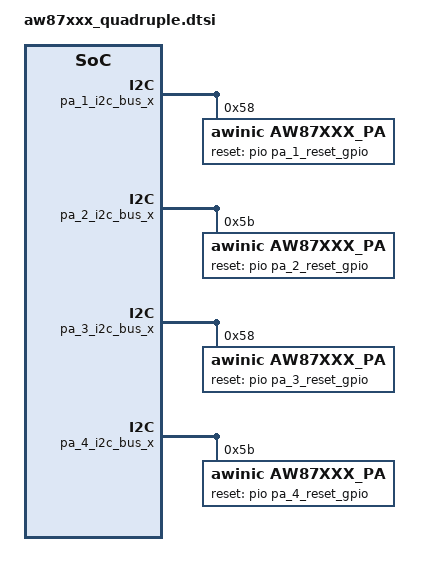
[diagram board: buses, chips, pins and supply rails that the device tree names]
//#include "./platform/mt6789.h"

#define pa_1_i2c_bus_x i2c6
#define pa_2_i2c_bus_x i2c6
#define pa_3_i2c_bus_x i2c3
#define pa_4_i2c_bus_x i2c3

#define pa_1_i2c_idx 58
#define pa_2_i2c_idx 5b
#define pa_3_i2c_idx 58
#define pa_4_i2c_idx 5b

#define pa_1_i2c_addr 0x58
#define pa_2_i2c_addr 0x5b
#define pa_3_i2c_addr 0x58
#define pa_4_i2c_addr 0x5b

#define pa_1_reset_gpio  43
#define pa_2_reset_gpio  44
#define pa_3_reset_gpio  45
#define pa_4_reset_gpio  110


&pa_1_i2c_bus_x { /*x 表示对应的总线号*/
	/* AWINIC AW87XXX Smart K PA */
	aw87xxx_pa@pa_1_i2c_idx {
		compatible = "awinic,aw87xxx_pa";
		reg = <pa_1_i2c_addr>;
		reset-gpio = <&pio pa_1_reset_gpio 0>; /*带 reset 引脚的配置*/
		dev_index = < 0 >;
		status = "okay";
	};
	/* AWINIC AW87XXX Smart K PA End */
};

&pa_2_i2c_bus_x { /*x 表示对应的总线号*/
	/* AWINIC AW87XXX Smart K PA */
	aw87xxx_pa@pa_2_i2c_idx {
		compatible = "awinic,aw87xxx_pa";
		reg = <pa_2_i2c_addr>;
		reset-gpio = <&pio pa_2_reset_gpio 0>; /*带 reset 引脚的配置*/
		dev_index = < 1 >;
		status = "okay";
	};
	/* AWINIC AW87XXX Smart K PA End */
};
&pa_3_i2c_bus_x { /*x 表示对应的总线号*/
	/* AWINIC AW87XXX Smart K PA */
	aw87xxx_pa@pa_3_i2c_idx {
	compatible = "awinic,aw87xxx_pa";
	reg = <pa_3_i2c_addr>;
	reset-gpio = <&pio pa_3_reset_gpio 0>; /*带 reset 引脚的配置*/
	dev_index = < 2 >;
	status = "okay";
	};
	/* AWINIC AW87XXX Smart K PA End */
};
&pa_4_i2c_bus_x { /*x 表示对应的总线号*/
	/* AWINIC AW87XXX Smart K PA */
	aw87xxx_pa@pa_4_i2c_idx {
		compatible = "awinic,aw87xxx_pa";
		reg = <pa_4_i2c_addr>;
		reset-gpio = <&pio pa_4_reset_gpio 0>; /*带 reset 引脚的配置*/
		dev_index = < 3 >;
		status = "okay";
	};
	/* AWINIC AW87XXX Smart K PA End */
};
